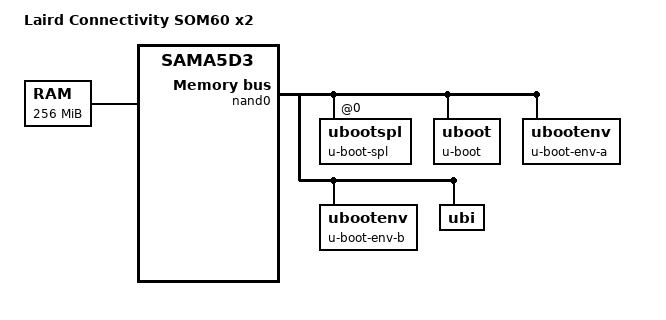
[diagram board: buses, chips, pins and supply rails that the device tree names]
/*
 * at91-som60x2.dtsi - Device Tree file for the SOM60 x2 module
 *
 *  Copyright (C) 2018 Laird Connectivity,
 *		  2018 Ben Whitten <ben.whitten@lairdconnect.com>
 *		  2018 Boris Krasnovskiy <boris.krasnovskiy@lairdconnect.com>
 *
 * Licensed under GPLv2 or later.
 */
#include "at91-som60_common.dtsi"

/ {
	model = "Laird Connectivity SOM60 x2";
	compatible = "laird,som60x2", "atmel,sama5d36", "atmel,sama5d3", "atmel,sama5";

	memory {
		reg = <0x20000000 0x10000000>;
	};
};

&nand0 {
	ubootspl@0 {
		label = "u-boot-spl";
		reg = <0x0 0x20000>;
	};

	uboot@20000 {
		label = "u-boot";
		reg = <0x20000 0x100000>;
	};

	ubootenv@120000 {
		label = "u-boot-env-a";
		reg = <0x120000 0x20000>;
	};

	ubootenv@140000 {
		label = "u-boot-env-b";
		reg = <0x140000 0x20000>;
	};

	/* Leave last 4 blocks for bbt if nand-on-flash-bbt is defined */
	ubi@160000 {
		label = "ubi";
		reg = <0x160000 0x1fe20000>;
	};
};
